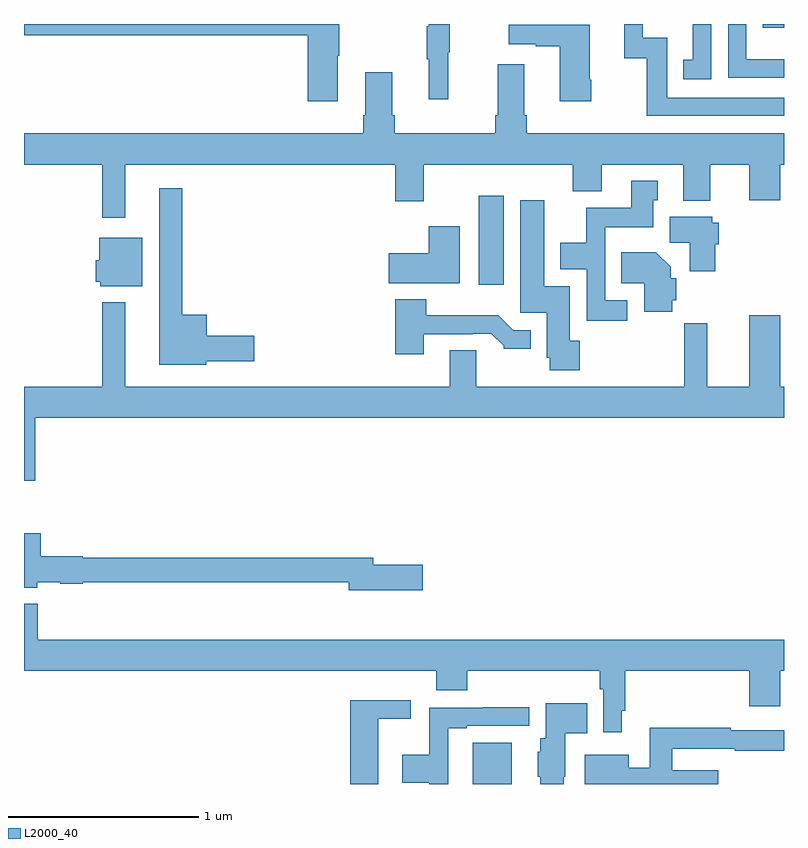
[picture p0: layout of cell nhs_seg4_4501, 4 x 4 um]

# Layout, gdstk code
import gdstk
lib = gdstk.Library(unit=1e-6, precision=1e-09)
def R(c, l, rs):  # rectangles x0, y0, x1, y1
    for r in rs: c.add(gdstk.rectangle(r[:2], r[2:], *l))
def P(c, l, *ps):  # polygons
    for p in ps: c.add(gdstk.Polygon(p, *l))
L2000_40 = (2000, 40)

nhs_seg4_4501 = lib.new_cell('nhs_seg4_4501')
R(nhs_seg4_4501, L2000_40, [(355.361,786.9,355.567,787.117), (355.394,789.528,355.525,789.997), (356.887,790.881,357,790.9)])
P(nhs_seg4_4501, L2000_40, [(356.616,790.9),(356.519,790.9),(356.519,790.713),(356.47,790.713),(356.47,790.608),(356.616,790.608)],
  [(354.652,790.732),(354.66,790.732),(354.66,790.9),(353,790.9),(353,790.84),(354.494,790.84),(354.494,790.494),(354.652,790.494)],
  [(357,790.714),(356.802,790.714),(356.802,790.9),(356.706,790.9),(356.706,790.617),(357,790.617)],
  [(357,790.512),(356.385,790.512),(356.385,790.827),(356.256,790.827),(356.256,790.9),(356.159,790.9),(356.159,790.719),(356.277,790.719),(356.277,790.416),(357,790.416)],
  [(355.232,790.752),(355.24,790.752),(355.24,790.9),(355.13,790.9),(355.13,790.889),(355.119,790.889),(355.119,790.715),(355.13,790.715),(355.13,790.503),(355.232,790.503)],
  [(355.986,790.606),(355.978,790.606),(355.978,790.897),(355.551,790.897),(355.551,790.793),(355.694,790.793),(355.694,790.783),(355.82,790.783),(355.82,790.494),(355.986,790.494)],
  [(355.633,790.42),(355.633,790.687),(355.493,790.687),(355.493,790.42),(355.481,790.42),(355.481,790.324),(354.95,790.324),(354.95,790.42),(354.937,790.42),(354.937,790.645),(354.797,790.645),(354.797,790.42),(354.785,790.42),(354.785,790.324),(353,790.324),(353,790.16),(353.412,790.16),(353.412,789.879),(353.533,789.879),(353.533,790.16),(354.953,790.16),(354.953,789.966),(355.105,789.966),(355.105,790.16),(355.889,790.16),(355.889,790.019),(356.041,790.019),(356.041,790.16),(356.471,790.16),(356.471,789.971),(356.611,789.971),(356.611,790.16),(356.816,790.16),(356.816,789.972),(356.98,789.972),(356.98,790.16),(357,790.16),(357,790.324),(355.646,790.324),(355.646,790.42)],
  [(356.176,789.447),(356.058,789.447),(356.058,789.83),(356.311,789.83),(356.311,789.972),(356.335,789.972),(356.335,790.075),(356.195,790.075),(356.195,789.934),(355.96,789.934),(355.96,789.748),(355.823,789.748),(355.823,789.608),(355.962,789.608),(355.962,789.339),(356.176,789.339)],
  [(353.958,789.125),(354.211,789.125),(354.211,789.26),(353.962,789.26),(353.962,789.37),(353.833,789.37),(353.833,790.036),(353.711,790.036),(353.711,789.107),(353.958,789.107)],
  [(355.925,789.234),(355.873,789.234),(355.873,789.52),(355.738,789.52),(355.738,789.973),(355.613,789.973),(355.613,789.381),(355.751,789.381),(355.751,789.144),(355.768,789.144),(355.768,789.078),(355.925,789.078)],
  [(356.639,789.741),(356.657,789.741),(356.657,789.855),(356.622,789.855),(356.622,789.886),(356.399,789.886),(356.399,789.748),(356.505,789.748),(356.505,789.6),(356.639,789.6)],
  [(355.294,789.835),(355.13,789.835),(355.13,789.694),(354.921,789.694),(354.921,789.536),(355.294,789.536)],
  [(353.623,789.775),(353.396,789.775),(353.396,789.657),(353.378,789.657),(353.378,789.543),(353.4,789.543),(353.4,789.521),(353.623,789.521)],
  [(356.412,789.447),(356.433,789.447),(356.433,789.561),(356.404,789.561),(356.404,789.622),(356.326,789.7),(356.143,789.7),(356.143,789.536),(356.264,789.536),(356.264,789.386),(356.412,789.386)],
  [(355.105,789.267),(355.361,789.267),(355.361,789.27),(355.46,789.27),(355.524,789.206),(355.524,789.191),(355.666,789.191),(355.666,789.288),(355.575,789.288),(355.497,789.367),(355.118,789.367),(355.118,789.451),(354.953,789.451),(354.953,789.162),(355.105,789.162)],
  [(356.816,789.367),(356.816,788.992),(356.595,788.992),(356.595,789.325),(356.476,789.325),(356.476,788.992),(355.381,788.992),(355.381,789.182),(355.241,789.182),(355.241,788.992),(353.533,788.992),(353.533,789.436),(353.412,789.436),(353.412,788.992),(353,788.992),(353,788.496),(353.06,788.496),(353.06,788.828),(357,788.828),(357,788.992),(356.98,788.992),(356.98,789.367)],
  [(355.099,788.054),(354.838,788.054),(354.838,788.09),(353.31,788.09),(353.31,788.098),(353.087,788.098),(353.087,788.221),(353,788.221),(353,787.934),(353.07,787.934),(353.07,787.961),(353.19,787.961),(353.19,787.954),(353.31,787.954),(353.31,787.962),(354.71,787.962),(354.71,787.919),(355.099,787.919)],
  [(353.072,787.849),(353,787.849),(353,787.496),(355.169,787.496),(355.169,787.394),(355.334,787.394),(355.334,787.496),(356.029,787.496),(356.029,787.4),(356.049,787.4),(356.049,787.173),(356.146,787.173),(356.146,787.285),(356.165,787.285),(356.165,787.496),(356.816,787.496),(356.816,787.308),(356.98,787.308),(356.98,787.496),(357,787.496),(357,787.66),(353.072,787.66)],
  [(354.865,787.244),(355.036,787.244),(355.036,787.342),(354.716,787.342),(354.716,786.9),(354.865,786.9)],
  [(355.84,786.939),(355.849,786.939),(355.849,787.166),(355.964,787.166),(355.964,787.324),(355.745,787.324),(355.745,787.14),(355.718,787.14),(355.718,787.071),(355.703,787.071),(355.703,786.939),(355.718,786.939),(355.718,786.9),(355.84,786.9)],
  [(355.233,787.194),(355.33,787.194),(355.33,787.206),(355.66,787.206),(355.66,787.304),(355.417,787.304),(355.417,787.302),(355.132,787.302),(355.132,787.054),(354.99,787.054),(354.99,786.907),(355.132,786.907),(355.132,786.9),(355.233,786.9)],
  [(356.653,786.973),(356.411,786.973),(356.411,787.086),(356.74,787.086),(356.74,787.074),(357,787.074),(357,787.182),(356.72,787.182),(356.72,787.195),(356.294,787.195),(356.294,786.986),(356.182,786.986),(356.182,787.054),(355.952,787.054),(355.952,786.9),(356.653,786.9)])

lib.write_gds('nhs_seg4_4501.gds')
